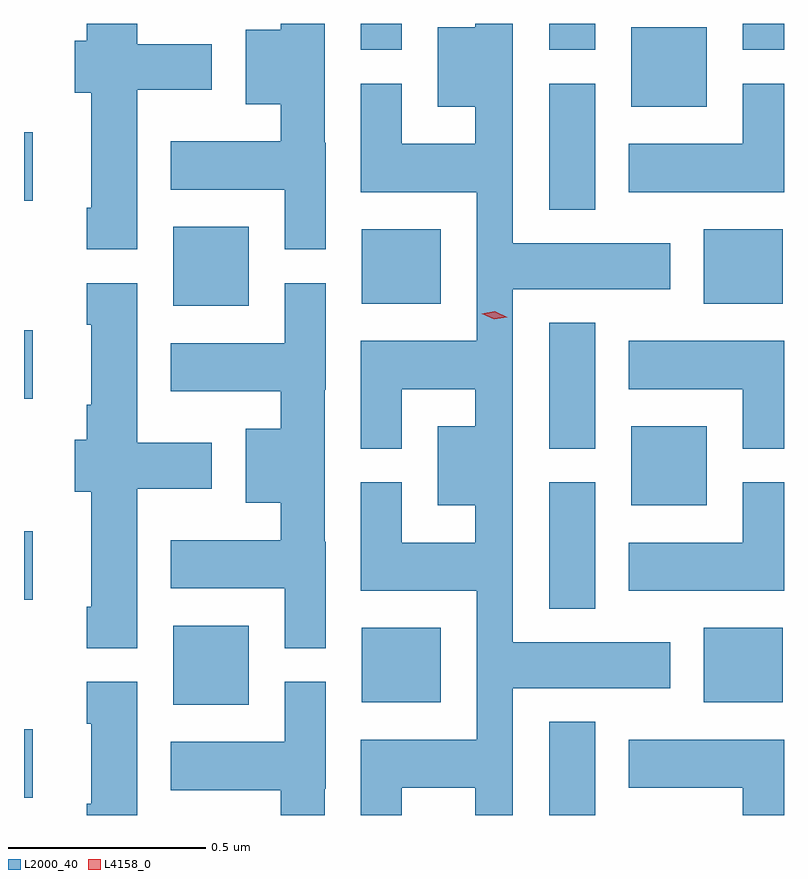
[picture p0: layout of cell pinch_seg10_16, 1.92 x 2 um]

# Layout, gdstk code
import gdstk
lib = gdstk.Library(unit=1e-6, precision=1e-09)
def R(c, l, rs):  # rectangles x0, y0, x1, y1
    for r in rs: c.add(gdstk.rectangle(r[:2], r[2:], *l))
def P(c, l, *ps):  # polygons
    for p in ps: c.add(gdstk.Polygon(p, *l))
L2000_40 = (2000, 40)
L4158_0 = (4158, 0)

pinch_seg10_16 = lib.new_cell('pinch_seg10_16')
R(pinch_seg10_16, L2000_40, [(975.428,1304.651,975.544,1304.887), (974.1,1304.695,974.122,1304.868), (974.477,1304.93,974.668,1305.13), (974.954,1304.936,975.154,1305.124), (975.818,1304.936,976.018,1305.124), (975.428,1305.173,975.544,1305.492), (974.1,1305.196,974.122,1305.369), (975.635,1305.434,975.826,1305.634), (975.428,1305.577,975.544,1305.895), (974.1,1305.703,974.122,1305.876), (974.477,1305.938,974.668,1306.138), (974.954,1305.944,975.154,1306.132), (975.818,1305.944,976.018,1306.132), (975.428,1306.181,975.544,1306.5), (974.1,1306.204,974.122,1306.377), (975.635,1306.442,975.826,1306.642), (974.951,1306.585,975.055,1306.651), (975.428,1306.585,975.544,1306.651), (975.917,1306.585,976.021,1306.651)])
P(pinch_seg10_16, L2000_40, [(975.055,1304.72),(975.24,1304.72),(975.24,1304.651),(975.335,1304.651),(975.335,1304.972),(975.733,1304.972),(975.733,1305.088),(975.335,1305.088),(975.335,1305.98),(975.733,1305.98),(975.733,1306.096),(975.335,1306.096),(975.335,1306.651),(975.24,1306.651),(975.24,1306.642),(975.146,1306.642),(975.146,1306.442),(975.24,1306.442),(975.24,1306.348),(975.055,1306.348),(975.055,1306.5),(974.951,1306.5),(974.951,1306.226),(975.244,1306.226),(975.244,1305.85),(974.951,1305.85),(974.951,1305.577),(975.055,1305.577),(975.055,1305.728),(975.24,1305.728),(975.24,1305.634),(975.146,1305.634),(975.146,1305.434),(975.24,1305.434),(975.24,1305.34),(975.055,1305.34),(975.055,1305.492),(974.951,1305.492),(974.951,1305.218),(975.244,1305.218),(975.244,1304.842),(974.951,1304.842),(974.951,1304.651),(975.055,1304.651)],
  [(974.863,1306.35),(974.86,1306.35),(974.86,1306.651),(974.749,1306.651),(974.749,1306.636),(974.66,1306.636),(974.66,1306.448),(974.749,1306.448),(974.749,1306.354),(974.471,1306.354),(974.471,1306.232),(974.759,1306.232),(974.759,1306.081),(974.863,1306.081)],
  [(974.386,1306.484),(974.575,1306.484),(974.575,1306.6),(974.386,1306.6),(974.386,1306.651),(974.258,1306.651),(974.258,1306.608),(974.228,1306.608),(974.228,1306.477),(974.27,1306.477),(974.27,1306.186),(974.258,1306.186),(974.258,1306.081),(974.386,1306.081)],
  [(976.021,1306.5),(975.917,1306.5),(975.917,1306.348),(975.629,1306.348),(975.629,1306.226),(976.021,1306.226)],
  [(974.386,1305.476),(974.575,1305.476),(974.575,1305.592),(974.386,1305.592),(974.386,1305.996),(974.258,1305.996),(974.258,1305.89),(974.27,1305.89),(974.27,1305.688),(974.258,1305.688),(974.258,1305.6),(974.228,1305.6),(974.228,1305.469),(974.27,1305.469),(974.27,1305.178),(974.258,1305.178),(974.258,1305.073),(974.386,1305.073)],
  [(974.863,1305.342),(974.86,1305.342),(974.86,1305.726),(974.863,1305.726),(974.863,1305.996),(974.759,1305.996),(974.759,1305.844),(974.471,1305.844),(974.471,1305.722),(974.749,1305.722),(974.749,1305.628),(974.66,1305.628),(974.66,1305.44),(974.749,1305.44),(974.749,1305.346),(974.471,1305.346),(974.471,1305.224),(974.759,1305.224),(974.759,1305.073),(974.863,1305.073)],
  [(976.021,1305.85),(975.629,1305.85),(975.629,1305.728),(975.917,1305.728),(975.917,1305.577),(976.021,1305.577)],
  [(976.021,1305.492),(975.917,1305.492),(975.917,1305.34),(975.629,1305.34),(975.629,1305.218),(976.021,1305.218)],
  [(974.86,1304.718),(974.863,1304.718),(974.863,1304.988),(974.759,1304.988),(974.759,1304.836),(974.471,1304.836),(974.471,1304.714),(974.749,1304.714),(974.749,1304.651),(974.86,1304.651)],
  [(974.386,1304.988),(974.258,1304.988),(974.258,1304.882),(974.27,1304.882),(974.27,1304.68),(974.258,1304.68),(974.258,1304.651),(974.386,1304.651)],
  [(976.021,1304.842),(975.629,1304.842),(975.629,1304.72),(975.917,1304.72),(975.917,1304.651),(976.021,1304.651)])
P(pinch_seg10_16, L4158_0, [(975.288,1305.904),(975.257,1305.918),(975.257,1305.918),(975.257,1305.918),(975.29,1305.924),(975.321,1305.91),(975.322,1305.91),(975.321,1305.91)])

lib.write_gds('pinch_seg10_16.gds')
